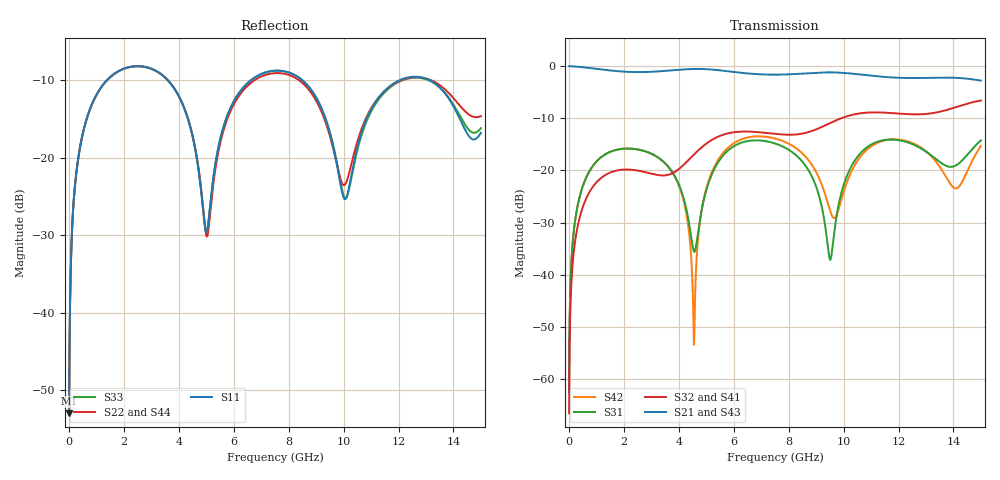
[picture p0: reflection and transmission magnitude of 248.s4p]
! Created with skrf 1.8.0 (http://scikit-rf.org).
# GHz S RI R 50.0
!freq ReS11 ImS11 ReS12 ImS12 ReS13 ImS13
! ReS14 ImS14
! ReS21 ImS21 ReS22 ImS22 ReS23 ImS23
! ReS24 ImS24
! ReS31 ImS31 ReS32 ImS32 ReS33 ImS33
! ReS34 ImS34
! ReS41 ImS41 ReS42 ImS42 ReS43 ImS43
! ReS44 ImS44
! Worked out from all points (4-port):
!   2499 points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, 5 MHz to 15 GHz, reference 50 ohm
!   strongest paths, dB at 5 MHz, 3.476 GHz, 7.19 GHz, 11.1 GHz, 15 GHz:
!     S21: 0.0, -0.9, -1.6, -1.9, -2.8
!     S43: 0.0, -0.9, -1.6, -1.9, -2.8
!     S32: -66.6, -21.0, -12.8, -8.9, -6.6
!     S41: -66.6, -21.0, -12.9, -8.9, -6.6
!     S31: -62.5, -18.5, -14.4, -14.8, -14.2
!     S42: -62.5, -18.5, -13.6, -15.1, -15.3
!   lowest |S11| = -53.0 dB at 5 MHz (marker M1), VSWR 1.00, Z = 50.2 + j0.136 ohm
!   |S11| at or under -10 dB: 3.606 GHz to 6.62 GHz (3.014 GHz wide, 58.9 % of centre); 8.5 GHz to 12.02 GHz (3.524 GHz wide, 34.3 % of centre); 13.15 GHz to end of sweep (the widest 3 of 4)
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0.005  0.00179 0.00135  0.9982 -0.00348  9.14e-05 0.000741  -8.85e-05 -0.00046
       0.9982 -0.00348  0.00179 0.00135  -8.85e-05 -0.00046  9.14e-05 0.000741
       9.14e-05 0.000741  -8.85e-05 -0.00046  0.00179 0.00135  0.9982 -0.00348
       -8.85e-05 -0.00046  9.14e-05 0.000741  0.9982 -0.00348  0.00179 0.00135
0.3126303  0.0279 0.0883  0.9618 -0.2157  0.0134 0.0435  -0.0111 -0.0265
           0.9618 -0.2157  0.0279 0.0883  -0.0111 -0.0265  0.0135 0.0435
           0.0134 0.0435  -0.0111 -0.0265  0.0279 0.0883  0.9618 -0.2157
           -0.0111 -0.0265  0.0135 0.0435  0.9618 -0.2157  0.0279 0.0883
1.419341  0.269 0.1769  0.5507 -0.7276  0.1322 0.0647  -0.0928 -0.00649
          0.5507 -0.7276  0.2688 0.177  -0.0929 -0.00633  0.1325 0.0644
          0.1322 0.0647  -0.0929 -0.00633  0.2689 0.1769  0.5507 -0.7276
          -0.0928 -0.00649  0.1325 0.0644  0.5507 -0.7276  0.2688 0.177
4.545909  0.0633 -0.1101  -0.8707 -0.3498  -0.0156 -0.00621  -0.0496 0.1326
          -0.8707 -0.3498  0.0628 -0.1125  -0.0475 0.1334  -0.00198 -0.0012
          -0.0156 -0.00621  -0.0475 0.1334  0.0631 -0.1092  -0.8708 -0.3497
          -0.0496 0.1326  -0.00198 -0.0012  -0.8708 -0.3497  0.0624 -0.1118
5.871196  0.1468 0.147  -0.7853 0.4113  0.1101 0.1179  0.138 0.1818
          -0.7853 0.4113  0.137 0.1434  0.1409 0.1803  0.1363 0.1047
          0.1101 0.1179  0.1409 0.1803  0.1465 0.148  -0.785 0.4113
          0.138 0.1818  0.1363 0.1047  -0.785 0.4113  0.1387 0.1446
10.12922  0.056 0.0119  0.8501 0.0931  0.0186 0.0876  0.0305 -0.3288
          0.8501 0.0931  0.069 0.0201  0.0206 -0.3297  0.00184 0.0778
          0.0186 0.0876  0.0206 -0.3297  0.0559 0.00784  0.85 0.0955
          0.0305 -0.3288  0.00184 0.0778  0.85 0.0955  0.0695 0.0176
15  0.1413 0.0325  -0.6967 -0.2029  -0.0872 0.1733  -0.1344 0.4495
    -0.6967 -0.2029  0.1852 -0.0143  -0.115 0.4529  -0.00113 0.1714
    -0.0872 0.1733  -0.115 0.4529  0.1535 0.0245  -0.6955 -0.208
    -0.1344 0.4495  -0.00113 0.1714  -0.6955 -0.208  0.1777 -0.0185
